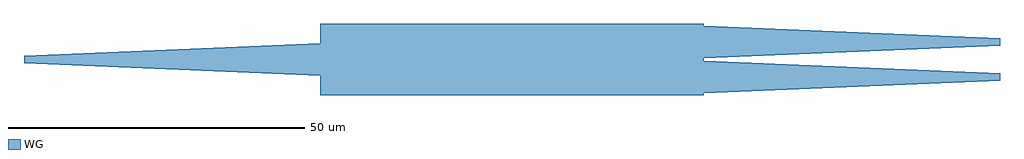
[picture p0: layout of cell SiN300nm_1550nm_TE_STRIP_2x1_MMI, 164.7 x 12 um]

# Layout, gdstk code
import gdstk
lib = gdstk.Library(unit=1e-6, precision=1e-09)
def R(c, l, rs):  # rectangles x0, y0, x1, y1
    for r in rs: c.add(gdstk.rectangle(r[:2], r[2:], *l))
def P(c, l, *ps):  # polygons
    for p in ps: c.add(gdstk.Polygon(p, *l))
WG = (203, 0)

sin300nm_1550nm_te_strip = lib.new_cell('SiN300nm_1550nm_TE_STRIP_2x1_MMI')
R(sin300nm_1550nm_te_strip, WG, [(-32.35,-6,32.35,6), (-32.35,-6,32.35,6)])
P(sin300nm_1550nm_te_strip, WG, [(32.35,-5.7),(32.35,-0.2),(82.35,-2.35),(82.35,-3.55)],
  [(32.35,0.2),(32.35,5.7),(82.35,3.55),(82.35,2.35)],
  [(-32.35,-2.75),(-82.35,-0.6),(-82.35,0.6),(-32.35,2.75)],
  [(32.35,-5.7),(32.35,-0.2),(82.35,-2.35),(82.35,-3.55)],
  [(32.35,0.2),(32.35,5.7),(82.35,3.55),(82.35,2.35)],
  [(-32.35,-2.75),(-82.35,-0.6),(-82.35,0.6),(-32.35,2.75)])

lib.write_gds('SiN300nm_1550nm_TE_STRIP_2x1_MMI.gds')
